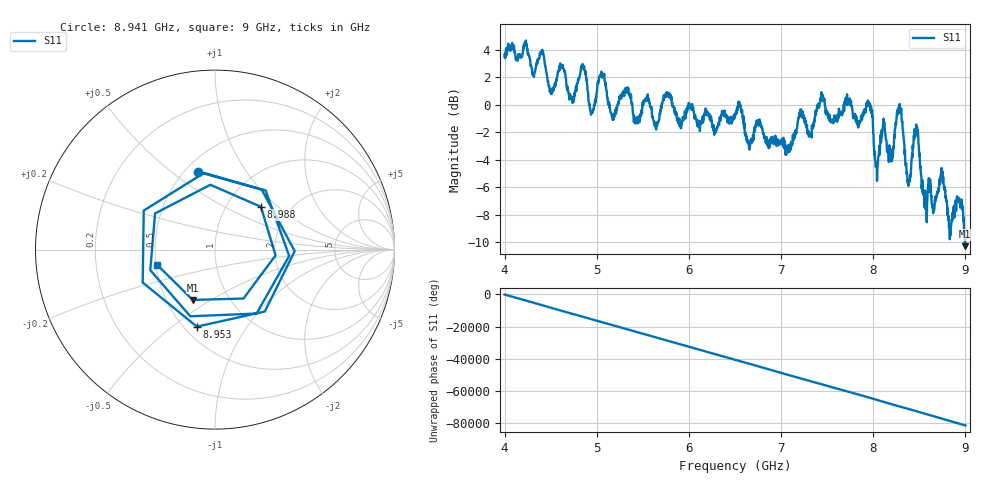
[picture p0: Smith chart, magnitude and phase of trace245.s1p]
! Created with skrf 1.8.0 (http://scikit-rf.org).
# Hz S RI R 50.0
!freq ReS11 ImS11
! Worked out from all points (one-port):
!   1601 points, 4 GHz to 9 GHz, reference 50 ohm
!   lowest |S11| = -10.3 dB at 8.997 GHz (marker M1), VSWR 1.88, Z = 33.7 - j20.9 ohm
!   |S11| at or under -10 dB: 8.993895 GHz to 8.998072 GHz (4.177 MHz wide, 0.0464 % of centre)
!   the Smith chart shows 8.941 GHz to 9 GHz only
!   S11 on the Smith chart (normalised r, x): 8.941 GHz: 0.58, +0.63; 8.953 GHz: 0.58, -0.62; 8.988 GHz: 1.44, +0.78; 9 GHz: 0.50, -0.09
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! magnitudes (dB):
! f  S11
! 4 GHz  3.5
! 4.406 GHz  4.0
! 4.512 GHz  1.0
! 4.625 GHz  2.8
! 4.728 GHz  0.5
! 4.853 GHz  2.8
! 4.944 GHz  -0.6
! 5.056 GHz  2.2
! 5.169 GHz  -0.8
! 5.25 GHz  0.6
! 5.875 GHz  -1.1
! 6.5 GHz  -0.7
! 7.125 GHz  -2.8
! 7.75 GHz  0.4
! 7.966 GHz  0.1
! 8.038 GHz  -4.3
! 8.106 GHz  -1.4
! 8.194 GHz  -3.7
! 8.284 GHz  0.0
! 8.375 GHz  -5.7
! 8.462 GHz  -1.9
! 8.562 GHz  -6.2
! 8.741 GHz  -4.6
! 8.941 GHz  -7.1
! 8.953 GHz  -7.1
! 8.988 GHz  -9.1
! 8.997 GHz  -10.3
! 9 GHz  -9.5
